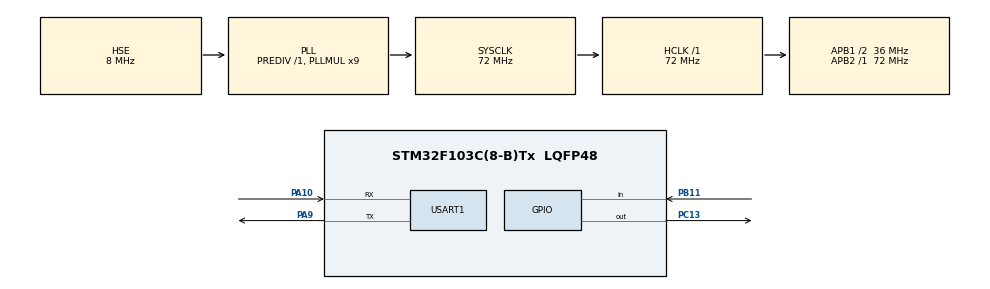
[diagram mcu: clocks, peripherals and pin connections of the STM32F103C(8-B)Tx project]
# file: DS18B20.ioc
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Mcu.Family=STM32F1
Mcu.Name=STM32F103C(8-B)Tx
Mcu.Package=LQFP48
NVIC.PriorityGroup=NVIC_PRIORITYGROUP_4
PA10.Mode=Asynchronous
PA10.Signal=USART1_RX
PA13.Mode=Serial_Wire
PA13.Signal=SYS_JTMS-SWDIO
PA14.Mode=Serial_Wire
PA14.Signal=SYS_JTCK-SWCLK
PA9.Mode=Asynchronous
PA9.Signal=USART1_TX
PB11.Signal=GPIO_Input
PC13-TAMPER-RTC.GPIO_Speed=GPIO_SPEED_FREQ_MEDIUM
PC13-TAMPER-RTC.Signal=GPIO_Output
PD0-OSC_IN.Mode=HSE-External-Oscillator
PD0-OSC_IN.Signal=RCC_OSC_IN
PD1-OSC_OUT.Mode=HSE-External-Oscillator
PD1-OSC_OUT.Signal=RCC_OSC_OUT
ProjectManager.HeapSize=0x200
ProjectManager.StackSize=0x400
ProjectManager.TargetToolchain=MDK-ARM V5
RCC.AHBFreq_Value=72000000
RCC.APB1CLKDivider=RCC_HCLK_DIV2
RCC.APB1Freq_Value=36000000
RCC.APB1TimFreq_Value=72000000
RCC.APB2Freq_Value=72000000
RCC.APB2TimFreq_Value=72000000
RCC.HCLKFreq_Value=72000000
RCC.PLLMUL=RCC_PLL_MUL9
RCC.PLLSourceVirtual=RCC_PLLSOURCE_HSE
RCC.SYSCLKFreq_VALUE=72000000
RCC.SYSCLKSource=RCC_SYSCLKSOURCE_PLLCLK
RCC.USBFreq_Value=72000000
USART1.VirtualMode=VM_ASYNC
board=DS18B20

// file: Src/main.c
/**
  ******************************************************************************
  * File Name          : main.c
  * Description        : Main program body
  ******************************************************************************
  ** This notice applies to any and all portions of this file
  * that are not between comment pairs USER CODE BEGIN and
  * USER CODE END. Other portions of this file, whether
  * inserted by the user or by software development tools
  * are owned by their respective copyright owners.
  *
  * COPYRIGHT(c) 2017 STMicroelectronics
  *
  * Redistribution and use in source and binary forms, with or without modification,
  * are permitted provided that the following conditions are met:
  *   1. Redistributions of source code must retain the above copyright notice,
  *      this list of conditions and the following disclaimer.
  *   2. Redistributions in binary form must reproduce the above copyright notice,
  *      this list of conditions and the following disclaimer in the documentation
  *      and/or other materials provided with the distribution.
  *   3. Neither the name of STMicroelectronics nor the names of its contributors
  *      may be used to endorse or promote products derived from this software
  *      without specific prior written permission.
  *
  * THIS SOFTWARE IS PROVIDED BY THE COPYRIGHT HOLDERS AND CONTRIBUTORS "AS IS"
  * AND ANY EXPRESS OR IMPLIED WARRANTIES, INCLUDING, BUT NOT LIMITED TO, THE
  * IMPLIED WARRANTIES OF MERCHANTABILITY AND FITNESS FOR A PARTICULAR PURPOSE ARE
  * DISCLAIMED. IN NO EVENT SHALL THE COPYRIGHT HOLDER OR CONTRIBUTORS BE LIABLE
  * FOR ANY DIRECT, INDIRECT, INCIDENTAL, SPECIAL, EXEMPLARY, OR CONSEQUENTIAL
  * DAMAGES (INCLUDING, BUT NOT LIMITED TO, PROCUREMENT OF SUBSTITUTE GOODS OR
  * SERVICES; LOSS OF USE, DATA, OR PROFITS; OR BUSINESS INTERRUPTION) HOWEVER
  * CAUSED AND ON ANY THEORY OF LIABILITY, WHETHER IN CONTRACT, STRICT LIABILITY,
  * OR TORT (INCLUDING NEGLIGENCE OR OTHERWISE) ARISING IN ANY WAY OUT OF THE USE
  * OF THIS SOFTWARE, EVEN IF ADVISED OF THE POSSIBILITY OF SUCH DAMAGE.
  *
  ******************************************************************************
  */
#include "main.h"
#include "stm32f1xx_hal.h"

UART_HandleTypeDef huart1;

/* USER CODE BEGIN PV */
/* Private variables ---------------------------------------------------------*/
char str1[60];
/* USER CODE END PV */

void SystemClock_Config(void);
static void MX_GPIO_Init(void);
static void MX_USART1_UART_Init(void);

/* USER CODE BEGIN PFP */
/* Private function prototypes -----------------------------------------------*/

/* USER CODE END PFP */

int main(void)
{

  /* USER CODE BEGIN 1 */
	uint8_t status;
	uint8_t dt[8];
	uint16_t raw_temper;
	float temper;
	char c;
  /* USER CODE END 1 */

  /* MCU Configuration----------------------------------------------------------*/

  /* Reset of all peripherals, Initializes the Flash interface and the Systick. */
  HAL_Init();

  /* Configure the system clock */
  SystemClock_Config();

  /* Initialize all configured peripherals */
  MX_GPIO_Init();
  MX_USART1_UART_Init();

  /* USER CODE BEGIN 2 */
	port_init();
	status = ds18b20_init(SKIP_ROM);
	sprintf(str1,"Init Status: %d\r\n",status);
	HAL_UART_Transmit(&huart1,(uint8_t*)str1,strlen(str1),0x1000);
  /* USER CODE END 2 */

  /* Infinite loop */
  while (1)
  {

  /* USER CODE BEGIN 3 */
	ds18b20_MeasureTemperCmd(SKIP_ROM, 0);
	HAL_Delay(800);
	ds18b20_ReadStratcpad(SKIP_ROM, dt, 0);
	sprintf(str1,"STRATHPAD: %02X %02X %02X %02X %02X %02X %02X %02X; ",
	dt[0], dt[1], dt[2], dt[3], dt[4], dt[5], dt[6], dt[7]);
	HAL_UART_Transmit(&huart1,(uint8_t*)str1,strlen(str1),0x1000);
	raw_temper = ((uint16_t)dt[1]<<8)|dt[0];
	if(ds18b20_GetSign(raw_temper)) c='-';
	else c='+';
	temper = ds18b20_Convert(raw_temper);
	sprintf(str1,"Raw t: 0x%04X; t: %c%.2f\r\n", raw_temper, c, temper);
	HAL_UART_Transmit(&huart1,(uint8_t*)str1,strlen(str1),0x1000);
	HAL_Delay(150);
  }
  /* USER CODE END 3 */

}

/** System Clock Configuration
*/
void SystemClock_Config(void)
{

  RCC_OscInitTypeDef RCC_OscInitStruct;
  RCC_ClkInitTypeDef RCC_ClkInitStruct;

    /**Initializes the CPU, AHB and APB busses clocks
    */
  RCC_OscInitStruct.OscillatorType = RCC_OSCILLATORTYPE_HSE;
  RCC_OscInitStruct.HSEState = RCC_HSE_ON;
  RCC_OscInitStruct.HSEPredivValue = RCC_HSE_PREDIV_DIV1;
  RCC_OscInitStruct.HSIState = RCC_HSI_ON;
  RCC_OscInitStruct.PLL.PLLState = RCC_PLL_ON;
  RCC_OscInitStruct.PLL.PLLSource = RCC_PLLSOURCE_HSE;
  RCC_OscInitStruct.PLL.PLLMUL = RCC_PLL_MUL9;
  if (HAL_RCC_OscConfig(&RCC_OscInitStruct) != HAL_OK)
  {
    _Error_Handler(__FILE__, __LINE__);
  }

    /**Initializes the CPU, AHB and APB busses clocks
    */
  RCC_ClkInitStruct.ClockType = RCC_CLOCKTYPE_HCLK|RCC_CLOCKTYPE_SYSCLK
                              |RCC_CLOCKTYPE_PCLK1|RCC_CLOCKTYPE_PCLK2;
  RCC_ClkInitStruct.SYSCLKSource = RCC_SYSCLKSOURCE_PLLCLK;
  RCC_ClkInitStruct.AHBCLKDivider = RCC_SYSCLK_DIV1;
  RCC_ClkInitStruct.APB1CLKDivider = RCC_HCLK_DIV2;
  RCC_ClkInitStruct.APB2CLKDivider = RCC_HCLK_DIV1;

  if (HAL_RCC_ClockConfig(&RCC_ClkInitStruct, FLASH_LATENCY_2) != HAL_OK)
  {
    _Error_Handler(__FILE__, __LINE__);
  }

    /**Configure the Systick interrupt time
    */
  HAL_SYSTICK_Config(HAL_RCC_GetHCLKFreq()/1000);

    /**Configure the Systick
    */
  HAL_SYSTICK_CLKSourceConfig(SYSTICK_CLKSOURCE_HCLK);

  /* SysTick_IRQn interrupt configuration */
  HAL_NVIC_SetPriority(SysTick_IRQn, 0, 0);
}

/* USART1 init function */
static void MX_USART1_UART_Init(void)
{

  huart1.Instance = USART1;
  huart1.Init.BaudRate = 115200;
  huart1.Init.WordLength = UART_WORDLENGTH_8B;
  huart1.Init.StopBits = UART_STOPBITS_1;
  huart1.Init.Parity = UART_PARITY_NONE;
  huart1.Init.Mode = UART_MODE_TX_RX;
  huart1.Init.HwFlowCtl = UART_HWCONTROL_NONE;
  huart1.Init.OverSampling = UART_OVERSAMPLING_16;
  if (HAL_UART_Init(&huart1) != HAL_OK)
  {
    _Error_Handler(__FILE__, __LINE__);
  }

}

/** Configure pins as
        * Analog
        * Input
        * Output
        * EVENT_OUT
        * EXTI
*/
static void MX_GPIO_Init(void)
{

  GPIO_InitTypeDef GPIO_InitStruct;

  /* GPIO Ports Clock Enable */
  __HAL_RCC_GPIOC_CLK_ENABLE();
  __HAL_RCC_GPIOD_CLK_ENABLE();
  __HAL_RCC_GPIOB_CLK_ENABLE();
  __HAL_RCC_GPIOA_CLK_ENABLE();

  /*Configure GPIO pin Output Level */
  HAL_GPIO_WritePin(GPIOC, GPIO_PIN_13, GPIO_PIN_RESET);

  /*Configure GPIO pin : PC13 */
  GPIO_InitStruct.Pin = GPIO_PIN_13;
  GPIO_InitStruct.Mode = GPIO_MODE_OUTPUT_PP;
  GPIO_InitStruct.Speed = GPIO_SPEED_FREQ_MEDIUM;
  HAL_GPIO_Init(GPIOC, &GPIO_InitStruct);

  /*Configure GPIO pin : PB11 */
  GPIO_InitStruct.Pin = GPIO_PIN_11;
  GPIO_InitStruct.Mode = GPIO_MODE_INPUT;
  GPIO_InitStruct.Pull = GPIO_NOPULL;
  HAL_GPIO_Init(GPIOB, &GPIO_InitStruct);

}

void _Error_Handler(char * file, int line)
{
  while(1)
  {
  }
}

/************************ (C) COPYRIGHT STMicroelectronics *****END OF FILE****/
